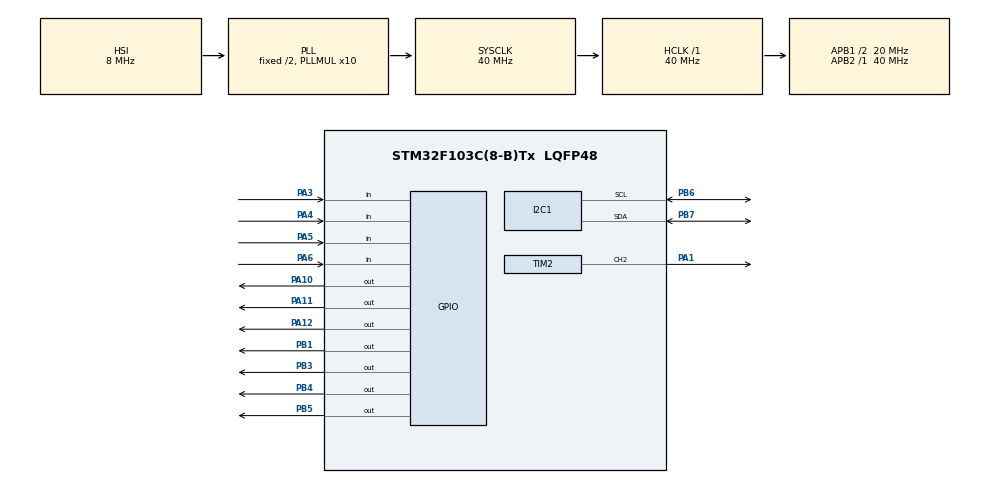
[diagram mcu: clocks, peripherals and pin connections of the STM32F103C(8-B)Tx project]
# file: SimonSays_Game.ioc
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Mcu.Family=STM32F1
Mcu.Name=STM32F103C(8-B)Tx
Mcu.Package=LQFP48
NVIC.PriorityGroup=NVIC_PRIORITYGROUP_4
NVIC.TIM2_IRQn=true\:0\:0\:false\:false\:true\:true\:true\:true
PA1.Signal=S_TIM2_CH2
PA10.Signal=GPIO_Output
PA11.Signal=GPIO_Output
PA12.Signal=GPIO_Output
PA13.Mode=Serial_Wire
PA13.Signal=SYS_JTMS-SWDIO
PA14.Mode=Serial_Wire
PA14.Signal=SYS_JTCK-SWCLK
PA3.GPIO_PuPd=GPIO_PULLUP
PA3.Signal=GPIO_Input
PA4.GPIO_PuPd=GPIO_PULLUP
PA4.Signal=GPIO_Input
PA5.GPIO_PuPd=GPIO_PULLUP
PA5.Signal=GPIO_Input
PA6.GPIO_PuPd=GPIO_PULLUP
PA6.Signal=GPIO_Input
PB1.Signal=GPIO_Output
PB3.Signal=GPIO_Output
PB4.Signal=GPIO_Output
PB5.Signal=GPIO_Output
PB6.Mode=I2C
PB6.Signal=I2C1_SCL
PB7.Mode=I2C
PB7.Signal=I2C1_SDA
ProjectManager.HeapSize=0x200
ProjectManager.StackSize=0x400
ProjectManager.TargetToolchain=STM32CubeIDE
RCC.AHBFreq_Value=40000000
RCC.APB1CLKDivider=RCC_HCLK_DIV2
RCC.APB1Freq_Value=20000000
RCC.APB1TimFreq_Value=40000000
RCC.APB2Freq_Value=40000000
RCC.APB2TimFreq_Value=40000000
RCC.HCLKFreq_Value=40000000
RCC.PLLMUL=RCC_PLL_MUL10
RCC.SYSCLKFreq_VALUE=40000000
RCC.SYSCLKSource=RCC_SYSCLKSOURCE_PLLCLK
RCC.USBFreq_Value=40000000
SH.S_TIM2_CH2.0=TIM2_CH2,PWM Generation2 CH2
TIM2.Channel-PWM\ Generation2\ CH2=TIM_CHANNEL_2
TIM2.Period=999
TIM2.Pulse-PWM\ Generation2\ CH2=500
VP_TIM2_VS_ClockSourceINT.Mode=Internal
board=custom

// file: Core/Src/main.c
/* USER CODE BEGIN Header */
/**
  ******************************************************************************
  * @file           : main.c
  * @brief          : Main program body
  ******************************************************************************
  * @attention
  *
  * Copyright (c) 2024 STMicroelectronics.
  * All rights reserved.
  *
  * This software is licensed under terms that can be found in the LICENSE file
  * in the root directory of this software component.
  * If no LICENSE file comes with this software, it is provided AS-IS.
  *
  ******************************************************************************
  */
/* USER CODE END Header */
#include "main.h"

/* USER CODE BEGIN Includes */
#include "BUZZER.h"
#include "Dou7SegLED.h"
#include "LCD_I2C.h"
#include "stdlib.h"
#include "stdio.h"

/* USER CODE END Includes */

/* USER CODE BEGIN PD */

#define MAX_LEVEL 100

#define ON GPIO_PIN_SET
#define OFF GPIO_PIN_RESET

#define PRESS GPIO_PIN_RESET
#define RELEASE	GPIO_PIN_SET

#define TRUE 1
#define FALSE 0

#define TIMEOUT_MS 5000

#define NUM_BUTTONS 4
#define NUM_LEDS 4
/* USER CODE END PD */

I2C_HandleTypeDef hi2c1;

TIM_HandleTypeDef htim2;

/* USER CODE BEGIN PV */

const uint16_t ledPins[] = {GPIO_PIN_3, GPIO_PIN_4, GPIO_PIN_5, GPIO_PIN_1};	// GPIOB

const uint16_t buttonPins[] = {GPIO_PIN_3, GPIO_PIN_4, GPIO_PIN_5, GPIO_PIN_6};	// GPIOA

const int gameTones[] = {NOTE_G3, NOTE_C4, NOTE_E4, NOTE_G5};

const uint16_t startTones[] = {NOTE_G4, NOTE_A4, 0, NOTE_C5, 0, 0, NOTE_G4, 0, 0, 0, NOTE_E4, 0, NOTE_D4, NOTE_E4, NOTE_G4, 0, NOTE_D4, NOTE_E4, 0, NOTE_G4, 0, 0, NOTE_D4, 0, NOTE_E4, 0, NOTE_G4, 0, NOTE_A4, 0, NOTE_C5, 0};
const uint16_t levelUpTones[] = {NOTE_E4, NOTE_G4, NOTE_E5, NOTE_C5, NOTE_D5, NOTE_G5};
const uint16_t overTones[] = {NOTE_DS5, NOTE_D5, NOTE_CS5};

uint8_t gameSequence[MAX_LEVEL] = {0};
uint8_t gameIndex = 0;

/* USER CODE END PV */

void SystemClock_Config(void);
static void MX_GPIO_Init(void);
static void MX_TIM2_Init(void);
static void MX_I2C1_Init(void);
/* USER CODE BEGIN PFP */

/*---------------------------- RANDOM LED ----------------------*/
void generateRandomSeed(void);
uint8_t randomLED(void);
/*--------------------------------------------------------------*/

/*----------------------- SOUND CONFIGURATION ------------------*/
void melodyGameStart(void);
void melodyLevelUp(void);
void melodyGameOver(void);
/*--------------------------------------------------------------*/

/*------------------ LED, BUTTON, SOUND CONFIGURATION ------------------*/
//LED On and Sound
void lightLedAndPlayTone(uint8_t index, uint16_t timeDelay);
//Wait for the Player to Press the Button and Return the Position of the Pressed Button
uint8_t readButtons();
/*----------------------------------------------------------------------*/

/*--------------------- GAME CONFIGURATION ----------------- */
// LED String
void playSequence(void);
// Test LED String with Player Button
uint8_t checkUserSequence(void);
// Game Start
void gameStart(void);
// Game Over
void gameOver(void);
/*----------------------------------------------------------- */

/* USER CODE END PFP */

/* USER CODE BEGIN 0 */

Seg7LED_t Seg7LED;

/* USER CODE END 0 */

int main(void)
{

  /* MCU Configuration--------------------------------------------------------*/

  /* Reset of all peripherals, Initializes the Flash interface and the Systick. */
  HAL_Init();

  /* Configure the system clock */
  SystemClock_Config();

  /* Initialize all configured peripherals */
  MX_GPIO_Init();
  MX_TIM2_Init();
  MX_I2C1_Init();
  /* USER CODE BEGIN 2 */
  HAL_TIM_PWM_Start(&htim2, TIM_CHANNEL_2);

  Seg7LED_Int(&Seg7LED, GPIOA, GPIO_PIN_12, GPIO_PIN_11, GPIO_PIN_10);
  displayScore(0, &Seg7LED);

  HAL_Delay(1000);
  lcd_init();

  generateRandomSeed();

  gameStart();

  /* USER CODE END 2 */

  /* Infinite loop */
  /* USER CODE BEGIN WHILE */
  while (1)
  {
	  char tmp[8] = {0};
	  displayScore(gameIndex, &Seg7LED);

	  lcd_goto_XY(1, 3);
	  lcd_send_string("Game Level:");

	  sprintf(tmp, "%d", gameIndex+1);
	  lcd_goto_XY(2, 7);
	  lcd_send_string(tmp);

	  gameSequence[gameIndex] = randomLED();
	  gameIndex++;

	  if (gameIndex >= MAX_LEVEL)
	  {
		  gameIndex = MAX_LEVEL - 1;
	  }

	  playSequence();

	  if (checkUserSequence() == 0)
	  {
		  lcd_clear_display();
		  HAL_Delay(5);
		  gameOver();
	  }

	  HAL_Delay(300);

	  if(gameIndex > 0)
	  {
		  melodyLevelUp();
		  HAL_Delay(300);
	  }

    /* USER CODE END WHILE */

  }
}

void SystemClock_Config(void)
{
  RCC_OscInitTypeDef RCC_OscInitStruct = {0};
  RCC_ClkInitTypeDef RCC_ClkInitStruct = {0};

  /** Initializes the RCC Oscillators according to the specified parameters
  * in the RCC_OscInitTypeDef structure.
  */
  RCC_OscInitStruct.OscillatorType = RCC_OSCILLATORTYPE_HSI;
  RCC_OscInitStruct.HSIState = RCC_HSI_ON;
  RCC_OscInitStruct.HSICalibrationValue = RCC_HSICALIBRATION_DEFAULT;
  RCC_OscInitStruct.PLL.PLLState = RCC_PLL_ON;
  RCC_OscInitStruct.PLL.PLLSource = RCC_PLLSOURCE_HSI_DIV2;
  RCC_OscInitStruct.PLL.PLLMUL = RCC_PLL_MUL10;
  if (HAL_RCC_OscConfig(&RCC_OscInitStruct) != HAL_OK)
  {
    Error_Handler();
  }

  /** Initializes the CPU, AHB and APB buses clocks
  */
  RCC_ClkInitStruct.ClockType = RCC_CLOCKTYPE_HCLK|RCC_CLOCKTYPE_SYSCLK
                              |RCC_CLOCKTYPE_PCLK1|RCC_CLOCKTYPE_PCLK2;
  RCC_ClkInitStruct.SYSCLKSource = RCC_SYSCLKSOURCE_PLLCLK;
  RCC_ClkInitStruct.AHBCLKDivider = RCC_SYSCLK_DIV1;
  RCC_ClkInitStruct.APB1CLKDivider = RCC_HCLK_DIV2;
  RCC_ClkInitStruct.APB2CLKDivider = RCC_HCLK_DIV1;

  if (HAL_RCC_ClockConfig(&RCC_ClkInitStruct, FLASH_LATENCY_1) != HAL_OK)
  {
    Error_Handler();
  }
}

static void MX_I2C1_Init(void)
{

  hi2c1.Instance = I2C1;
  hi2c1.Init.ClockSpeed = 100000;
  hi2c1.Init.DutyCycle = I2C_DUTYCYCLE_2;
  hi2c1.Init.OwnAddress1 = 0;
  hi2c1.Init.AddressingMode = I2C_ADDRESSINGMODE_7BIT;
  hi2c1.Init.DualAddressMode = I2C_DUALADDRESS_DISABLE;
  hi2c1.Init.OwnAddress2 = 0;
  hi2c1.Init.GeneralCallMode = I2C_GENERALCALL_DISABLE;
  hi2c1.Init.NoStretchMode = I2C_NOSTRETCH_DISABLE;
  if (HAL_I2C_Init(&hi2c1) != HAL_OK)
  {
    Error_Handler();
  }

}

static void MX_TIM2_Init(void)
{

  TIM_ClockConfigTypeDef sClockSourceConfig = {0};
  TIM_MasterConfigTypeDef sMasterConfig = {0};
  TIM_OC_InitTypeDef sConfigOC = {0};

  htim2.Instance = TIM2;
  htim2.Init.Prescaler = 0;
  htim2.Init.CounterMode = TIM_COUNTERMODE_UP;
  htim2.Init.Period = 999;
  htim2.Init.ClockDivision = TIM_CLOCKDIVISION_DIV1;
  htim2.Init.AutoReloadPreload = TIM_AUTORELOAD_PRELOAD_DISABLE;
  if (HAL_TIM_Base_Init(&htim2) != HAL_OK)
  {
    Error_Handler();
  }
  sClockSourceConfig.ClockSource = TIM_CLOCKSOURCE_INTERNAL;
  if (HAL_TIM_ConfigClockSource(&htim2, &sClockSourceConfig) != HAL_OK)
  {
    Error_Handler();
  }
  if (HAL_TIM_PWM_Init(&htim2) != HAL_OK)
  {
    Error_Handler();
  }
  sMasterConfig.MasterOutputTrigger = TIM_TRGO_RESET;
  sMasterConfig.MasterSlaveMode = TIM_MASTERSLAVEMODE_DISABLE;
  if (HAL_TIMEx_MasterConfigSynchronization(&htim2, &sMasterConfig) != HAL_OK)
  {
    Error_Handler();
  }
  sConfigOC.OCMode = TIM_OCMODE_PWM1;
  sConfigOC.Pulse = 500;
  sConfigOC.OCPolarity = TIM_OCPOLARITY_HIGH;
  sConfigOC.OCFastMode = TIM_OCFAST_DISABLE;
  if (HAL_TIM_PWM_ConfigChannel(&htim2, &sConfigOC, TIM_CHANNEL_2) != HAL_OK)
  {
    Error_Handler();
  }
  HAL_TIM_MspPostInit(&htim2);

}

static void MX_GPIO_Init(void)
{
  GPIO_InitTypeDef GPIO_InitStruct = {0};

  /* GPIO Ports Clock Enable */
  __HAL_RCC_GPIOA_CLK_ENABLE();
  __HAL_RCC_GPIOB_CLK_ENABLE();

  /*Configure GPIO pin Output Level */
  HAL_GPIO_WritePin(GPIOB, GPIO_PIN_1|GPIO_PIN_3|GPIO_PIN_4|GPIO_PIN_5, GPIO_PIN_RESET);

  /*Configure GPIO pin Output Level */
  HAL_GPIO_WritePin(GPIOA, GPIO_PIN_10|GPIO_PIN_11|GPIO_PIN_12, GPIO_PIN_RESET);

  /*Configure GPIO pins : PA3 PA4 PA5 PA6 */
  GPIO_InitStruct.Pin = GPIO_PIN_3|GPIO_PIN_4|GPIO_PIN_5|GPIO_PIN_6;
  GPIO_InitStruct.Mode = GPIO_MODE_INPUT;
  GPIO_InitStruct.Pull = GPIO_PULLUP;
  HAL_GPIO_Init(GPIOA, &GPIO_InitStruct);

  /*Configure GPIO pins : PB1 PB3 PB4 PB5 */
  GPIO_InitStruct.Pin = GPIO_PIN_1|GPIO_PIN_3|GPIO_PIN_4|GPIO_PIN_5;
  GPIO_InitStruct.Mode = GPIO_MODE_OUTPUT_PP;
  GPIO_InitStruct.Pull = GPIO_NOPULL;
  GPIO_InitStruct.Speed = GPIO_SPEED_FREQ_LOW;
  HAL_GPIO_Init(GPIOB, &GPIO_InitStruct);

  /*Configure GPIO pins : PA10 PA11 PA12 */
  GPIO_InitStruct.Pin = GPIO_PIN_10|GPIO_PIN_11|GPIO_PIN_12;
  GPIO_InitStruct.Mode = GPIO_MODE_OUTPUT_PP;
  GPIO_InitStruct.Pull = GPIO_NOPULL;
  GPIO_InitStruct.Speed = GPIO_SPEED_FREQ_LOW;
  HAL_GPIO_Init(GPIOA, &GPIO_InitStruct);

}

/* USER CODE BEGIN 4 */

/*---------------- RANDOM LED ---------------------*/
void generateRandomSeed(void)
{
    uint32_t seed = 0;
    for (int i = 0; i < 32; i++)
    {
        seed = (seed << 1) | (HAL_GPIO_ReadPin(GPIOA, GPIO_PIN_0) & 0x01);
        HAL_Delay(1);
    }
    srand(seed);
}

uint8_t randomLED(void)
{
    return rand() % NUM_BUTTONS;
}
/*--------------------------------------------------*/

/*----------------------- SOUND CONFIGURATION ------------------*/
void melodyGameStart(void)
{
	for(uint8_t i = 0; i < 32; i++)
	{
		playTone(startTones[i], &htim2);
		HAL_Delay(150);
	}
	noTone(&htim2);
}

void melodyLevelUp(void)
{
	for(uint8_t i = 0; i < 6; i++)
	{
		playTone(levelUpTones[i], &htim2);
		HAL_Delay(150);
	}
	noTone(&htim2);
}

void melodyGameOver(void)
{
	for(uint8_t i = 0; i < 3; i++)
	{
		playTone(overTones[i], &htim2);
		HAL_Delay(300);
	}
	for (uint8_t i = 0; i < 10; i++) {
	  for (int pitch = -10; pitch <= 10; pitch++) {
		playTone(NOTE_C5 + pitch, &htim2);
	    HAL_Delay(5);
	  }
	}
	noTone(&htim2);

	HAL_Delay(100);
}
/*--------------------------------------------------------------*/

/*------------------ LED, BUTTON, SOUND CONFIGURATION ------------------*/
void lightLedAndPlayTone(uint8_t index, uint16_t timeDelay)
{
	HAL_GPIO_WritePin(GPIOB, ledPins[index], ON);
	HAL_Delay(timeDelay);
	playTone(gameTones[index], &htim2);
	HAL_GPIO_WritePin(GPIOB, ledPins[index], OFF);
	HAL_Delay(timeDelay);
	noTone(&htim2);
}

uint8_t readButtons()
{
	uint32_t timeOut = HAL_GetTick();
	while (1)
	{
		for(int index = 0; index < NUM_BUTTONS; index++)
		{
			if (HAL_GPIO_ReadPin(GPIOA, buttonPins[index]) == PRESS)
			{
				uint32_t timeOut = HAL_GetTick();
				HAL_Delay(40);
				lightLedAndPlayTone(index, 300);
				while(HAL_GPIO_ReadPin(GPIOA, buttonPins[index]) == PRESS)
				{
					if(HAL_GetTick() - timeOut > TIMEOUT_MS)
					{
						break;
					}
				}
				return index;
			}
		}

		// Time Out
		if (HAL_GetTick() - timeOut >= TIMEOUT_MS)
		{
			return -1;
		}
	}
}
/*---------------------------------------------------------------------------*/

/*--------------------- GAME CONFIGURATION ----------------- */
void playSequence(void)
{
	for(uint8_t i = 0; i < gameIndex; i++)
	{
		uint8_t ledString = gameSequence[i];
		lightLedAndPlayTone(ledString, 300);
		HAL_Delay(50);
	}
}

uint8_t checkUserSequence(void)
{
	for(uint8_t i = 0; i < gameIndex; i++)
	{
		uint8_t expectedButton = gameSequence[i];
		uint8_t actualButton = readButtons();
		if (actualButton != expectedButton)
		{
			return FALSE;
		}
	}
	return TRUE;
}

void gameStart(void)
{
	lcd_goto_XY(1, 1);
	lcd_send_string("VKU MEMORY GAME");
	lcd_goto_XY(2, 3);
	lcd_send_string("Using STM32");
	HAL_Delay(500);

	melodyGameStart();

	lcd_clear_display();
	HAL_Delay(5);

	lcd_goto_XY(1, 2);
	lcd_send_string("Press & Hold");
	lcd_goto_XY(2, 1);
	lcd_send_string("the Red Button");

	uint32_t timeOut = HAL_GetTick();
	while(HAL_GPIO_ReadPin(GPIOA, buttonPins[0]) == RELEASE)
	{

		HAL_GPIO_TogglePin(GPIOB, GPIO_PIN_3);
		HAL_Delay(50);
		HAL_GPIO_TogglePin(GPIOB, GPIO_PIN_3);
		HAL_GPIO_TogglePin(GPIOB, GPIO_PIN_5);
		HAL_Delay(50);
		HAL_GPIO_TogglePin(GPIOB, GPIO_PIN_5);
		HAL_GPIO_TogglePin(GPIOB, GPIO_PIN_4);
		HAL_Delay(50);
		HAL_GPIO_TogglePin(GPIOB, GPIO_PIN_4);
		HAL_GPIO_TogglePin(GPIOB, GPIO_PIN_1);
		HAL_Delay(50);
		HAL_GPIO_TogglePin(GPIOB, GPIO_PIN_1);

		if (HAL_GPIO_ReadPin(GPIOA, buttonPins[0]) == PRESS)
		{
			HAL_Delay(40);
			uint32_t timePess = HAL_GetTick();
			while ((HAL_GPIO_ReadPin(GPIOA, buttonPins[0]) == PRESS) )
			{
				if (HAL_GetTick() - timePess >= 800)
				{
					break;
				}
			}
		}

		// Time Out
		if (HAL_GetTick() - timeOut >= TIMEOUT_MS)
		{
			break;
		}
	}

	lcd_clear_display();

	HAL_Delay(5);

	lcd_goto_XY(2, 3);
	lcd_send_string("Game Start");

	for(uint8_t i = 0; i < 2; i++)
	{
		HAL_GPIO_WritePin(GPIOB, GPIO_PIN_3 | GPIO_PIN_4 | GPIO_PIN_5 | GPIO_PIN_1, ON);
		HAL_Delay(300);
		HAL_GPIO_WritePin(GPIOB, GPIO_PIN_3 | GPIO_PIN_4 | GPIO_PIN_5 | GPIO_PIN_1, OFF);
		HAL_Delay(300);
	}

	lcd_clear_display();
}

void gameOver(void)
{
	gameIndex = 0;

	lcd_goto_XY(2, 3);
	lcd_send_string("Game Over");

	melodyGameOver();

	lcd_clear_display();
}
/*---------------------------------------------------------------------*/

/* USER CODE END 4 */

void Error_Handler(void)
{
  __disable_irq();
  while (1)
  {
  }
}
